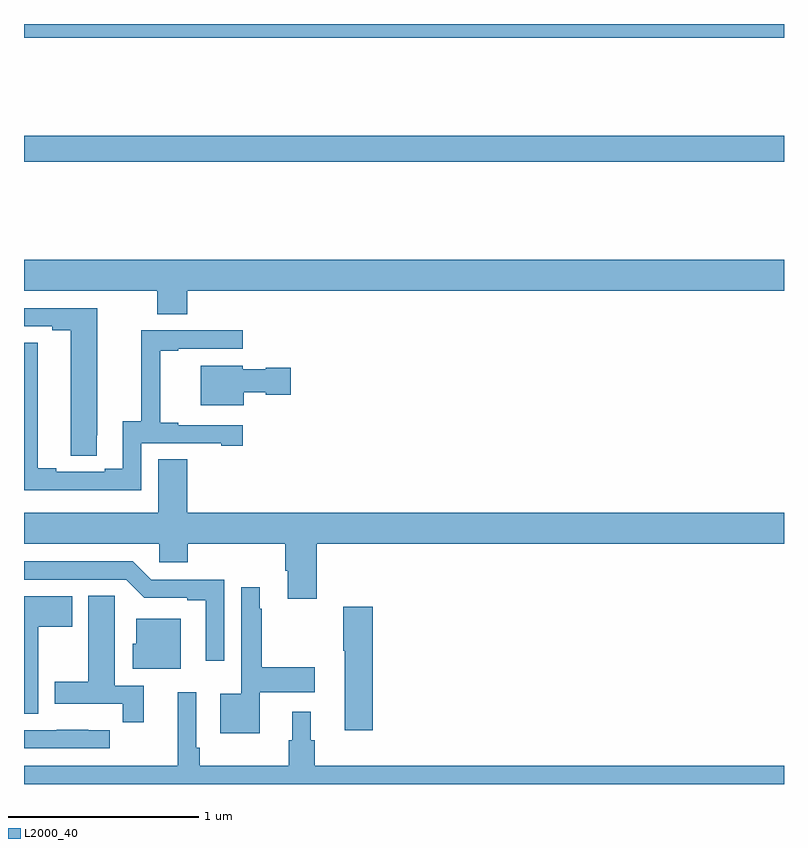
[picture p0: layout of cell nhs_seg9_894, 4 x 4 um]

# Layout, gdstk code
import gdstk
lib = gdstk.Library(unit=1e-6, precision=1e-09)
def R(c, l, rs):  # rectangles x0, y0, x1, y1
    for r in rs: c.add(gdstk.rectangle(r[:2], r[2:], *l))
def P(c, l, *ps):  # polygons
    for p in ps: c.add(gdstk.Polygon(p, *l))
L2000_40 = (2000, 40)

nhs_seg9_894 = lib.new_cell('nhs_seg9_894')
R(nhs_seg9_894, L2000_40, [(159,1187.776,163,1187.912), (159,1188.428,163,1188.5)])
P(nhs_seg9_894, L2000_40, [(159.86,1187.096),(163,1187.096),(163,1187.26),(159,1187.26),(159,1187.096),(159.7,1187.096),(159.7,1186.972),(159.86,1186.972)],
  [(159.384,1186.336),(159.385,1186.336),(159.385,1187.004),(159,1187.004),(159,1186.908),(159.149,1186.908),(159.149,1186.888),(159.245,1186.888),(159.245,1186.228),(159.384,1186.228)],
  [(159.618,1186.293),(160.037,1186.293),(160.037,1186.281),(160.15,1186.281),(160.15,1186.389),(159.811,1186.389),(159.811,1186.402),(159.716,1186.402),(159.716,1186.779),(159.811,1186.779),(159.811,1186.791),(160.15,1186.791),(160.15,1186.887),(159.616,1186.887),(159.616,1186.409),(159.521,1186.409),(159.521,1186.158),(159.425,1186.158),(159.425,1186.143),(159.169,1186.143),(159.169,1186.163),(159.073,1186.163),(159.073,1186.823),(159,1186.823),(159,1186.047),(159.618,1186.047)],
  [(160.156,1186.562),(160.272,1186.562),(160.272,1186.55),(160.405,1186.55),(160.405,1186.692),(160.272,1186.692),(160.272,1186.684),(160.152,1186.684),(160.152,1186.702),(159.929,1186.702),(159.929,1186.493),(160.156,1186.493)],
  [(160.541,1185.764),(163,1185.764),(163,1185.928),(159.86,1185.928),(159.86,1186.208),(159.707,1186.208),(159.707,1185.928),(159,1185.928),(159,1185.764),(159.711,1185.764),(159.711,1185.666),(159.863,1185.666),(159.863,1185.764),(160.376,1185.764),(160.376,1185.622),(160.388,1185.622),(160.388,1185.474),(160.541,1185.474)],
  [(160.053,1185.576),(159.669,1185.576),(159.573,1185.672),(159,1185.672),(159,1185.576),(159.537,1185.576),(159.633,1185.48),(159.86,1185.48),(159.86,1185.468),(159.956,1185.468),(159.956,1185.15),(160.053,1185.15)],
  [(160.24,1184.984),(160.531,1184.984),(160.531,1185.114),(160.252,1185.114),(160.252,1185.422),(160.24,1185.422),(160.24,1185.535),(160.143,1185.535),(160.143,1184.974),(160.034,1184.974),(160.034,1184.768),(160.24,1184.768)],
  [(159.629,1185.018),(159.478,1185.018),(159.478,1185.38),(159.477,1185.38),(159.477,1185.491),(159.338,1185.491),(159.338,1185.039),(159.161,1185.039),(159.161,1184.922),(159.52,1184.922),(159.52,1184.826),(159.629,1184.826)],
  [(159.076,1185.328),(159.253,1185.328),(159.253,1185.487),(159,1185.487),(159,1184.869),(159.076,1184.869)],
  [(160.835,1185.433),(160.681,1185.433),(160.681,1185.202),(160.688,1185.202),(160.688,1184.784),(160.835,1184.784)],
  [(159.826,1185.37),(159.59,1185.37),(159.59,1185.237),(159.572,1185.237),(159.572,1185.107),(159.826,1185.107)],
  [(159.906,1184.692),(159.906,1184.983),(159.809,1184.983),(159.809,1184.596),(159,1184.596),(159,1184.5),(163,1184.5),(163,1184.596),(160.529,1184.596),(160.529,1184.73),(160.51,1184.73),(160.51,1184.881),(160.412,1184.881),(160.412,1184.73),(160.393,1184.73),(160.393,1184.596),(159.926,1184.596),(159.926,1184.692)],
  [(159.451,1184.784),(159.338,1184.784),(159.338,1184.785),(159.172,1184.785),(159.172,1184.784),(159,1184.784),(159,1184.688),(159.451,1184.688)])

lib.write_gds('nhs_seg9_894.gds')
